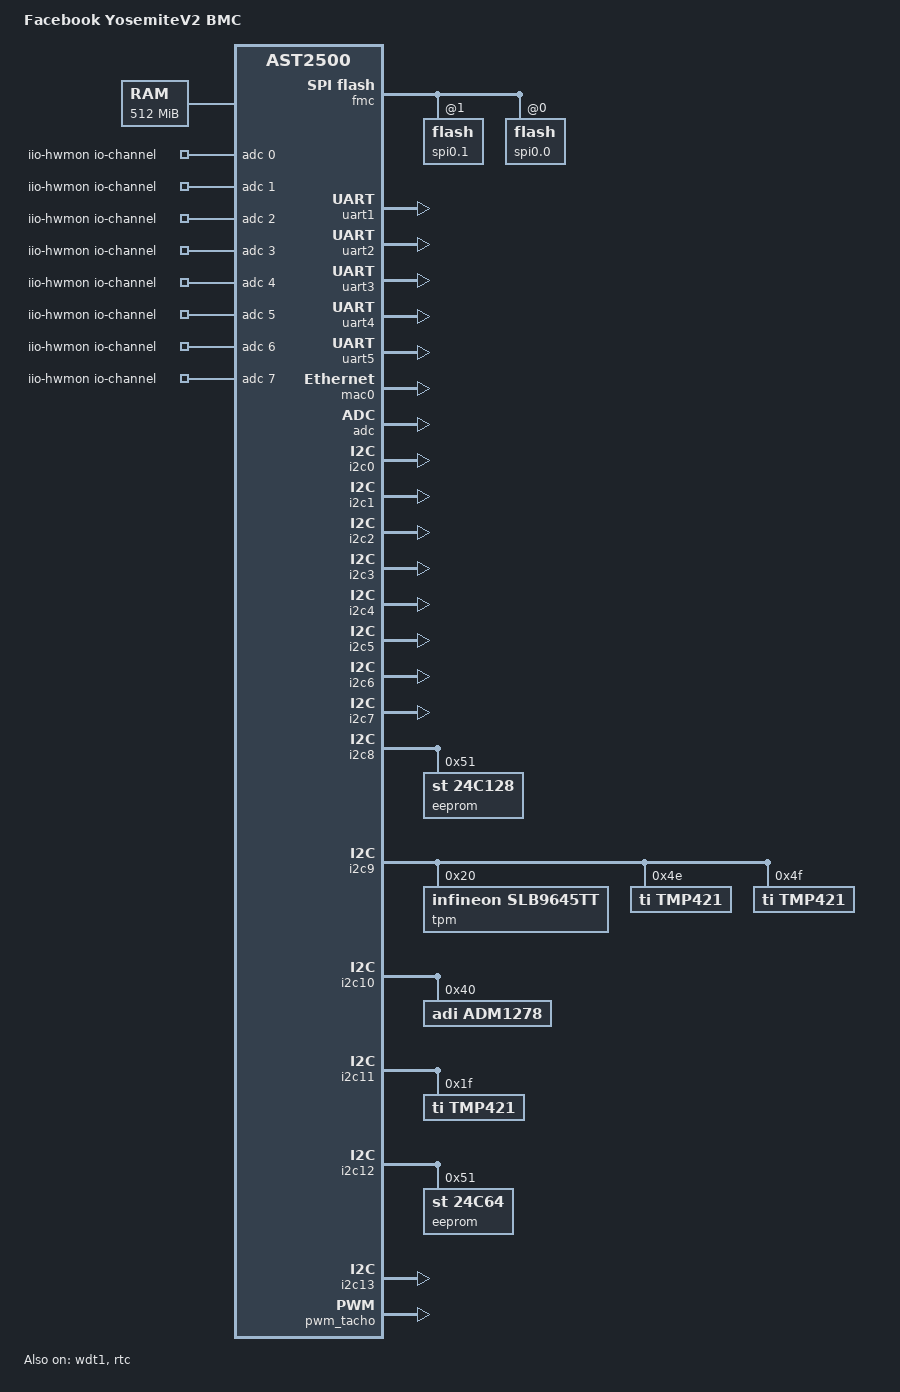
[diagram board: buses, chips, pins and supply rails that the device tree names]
// SPDX-License-Identifier: GPL-2.0+
// Copyright (c) 2018 Facebook Inc.
/dts-v1/;

#include "aspeed-g5.dtsi"
#include <dt-bindings/gpio/aspeed-gpio.h>

/ {
	model = "Facebook YosemiteV2 BMC";
	compatible = "facebook,yosemitev2-bmc", "aspeed,ast2500";
	aliases {
		serial0 = &uart5;
		serial1 = &uart1;
		serial2 = &uart2;
		serial3 = &uart3;
		serial4 = &uart4;
	};
	chosen {
		stdout-path = &uart5;
		bootargs = "debug console=ttyS0,57600n8 root=/dev/ram rw";
	};

	memory@80000000 {
		reg = <0x80000000 0x20000000>;
	};

	iio-hwmon {
		compatible = "iio-hwmon";
		io-channels = <&adc 0>, <&adc 1>, <&adc 2>, <&adc 3>,
		              <&adc 4>, <&adc 5>, <&adc 6>, <&adc 7>,
		              <&adc 8>, <&adc 9>, <&adc 10>, <&adc 11>,
		              <&adc 12>, <&adc 13>, <&adc 14>, <&adc 15>;
	};
};

&wdt1 {
	status = "okay";
	aspeed,reset-type = "soc";
	aspeed,ext-active-high;
	aspeed,ext-pulse-duration = <256>;
};

&fmc {
	status = "okay";
	flash@0 {
		reg = < 1 >;
		status = "okay";
		m25p,fast-read;
		label = "spi0.1";
#include "facebook-bmc-flash1-layout.dtsi"
	};
	flash@1 {
		reg = < 0 >;
		status = "okay";
		m25p,fast-read;
		label = "spi0.0";
#include "facebook-bmc-flash0-layout.dtsi"
	};
};

&ibt {
	status = "disabled";
};

&rtc {
	status = "okay";
};

&uart1 {
	status = "okay";
	pinctrl-names = "default";
	pinctrl-0 = <&pinctrl_txd1_default
		     &pinctrl_rxd1_default>;
};

&uart2 {
	status = "okay";
	pinctrl-names = "default";
	pinctrl-0 = <&pinctrl_txd2_default
		     &pinctrl_rxd2_default>;
};

&uart3 {
	status = "okay";
	pinctrl-names = "default";
	pinctrl-0 = <&pinctrl_txd3_default
		     &pinctrl_rxd3_default>;
};

&uart4 {
	status = "okay";
	pinctrl-names = "default";
	pinctrl-0 = <&pinctrl_txd4_default
		     &pinctrl_rxd4_default>;
};

&uart5 {
	status = "okay";
};

&mac0 {
	status = "okay";
	pinctrl-names = "default";
	pinctrl-0 = <&pinctrl_mdio1_default>;
	no-hw-checksum;
	use-ncsi;
	mlx,multi-host;
};

&adc {
	status = "okay";
};

&i2c0 {
	status = "okay";
};

&i2c1 {
	// To BIC server board 0x40
	multi-master;
	bus-frequency = <1000000>;
	aspeed,hw-timeout-ms = <1000>;
	status = "okay";
};

&i2c2 {
	status = "okay";
};

&i2c3 {
	// To BIC server board 0x40
	multi-master;
	bus-frequency = <1000000>;
	aspeed,hw-timeout-ms = <1000>;
	status = "okay";
};

&i2c4 {
	
	status = "okay";
};

&i2c5 {
	// To BIC server board 0x40
	multi-master;
	bus-frequency = <1000000>;
	aspeed,hw-timeout-ms = <1000>;
	status = "okay";
};

&i2c6 {
	status = "okay";
};

&i2c7 {
	// To BIC server board 0x40
	multi-master;
	bus-frequency = <1000000>;
	aspeed,hw-timeout-ms = <1000>;
	status = "okay";
};

&i2c8 {
	status = "okay";
	// EEPROM, 0xA2
	eeprom@51 {
		compatible = "st,24c128";
		reg = <0x51>;
    };
};

&i2c9 {
	status = "okay";
	// TPM (0x40)
	tpm@20 {
		compatible = "infineon,slb9645tt";
		reg = <0x20>;
	};
	// INLET TEMP Sensor (0x9C)
	tmp421@4e {
		compatible = "ti,tmp421";
		reg = <0x4e>;
	};
	// OUTLET TEMP Sensor (0x9E)
	tmp421@4f {
		compatible = "ti,tmp421";
		reg = <0x4f>;
	};
};

&i2c10 {
	status = "okay";
	// ADM1278, 0x20 (8BIT) -> ML HSC
	adm1278@40 {
		compatible = "adi,adm1278";
		reg = <0x40>;
	};
};

&i2c11 {
	status = "okay";
	bus-frequency = <400000>;
	// Mezz C connector -> OCP MEZZ
	tmp421@1f {
		compatible = "ti,tmp421";
		reg = <0x1f>;
	};
};

&i2c12 {
	status = "okay";
	// Mezz C connector -> OCP MEZZ EEPROM
	eeprom@51 {
		compatible = "st,24c64";
		reg = <0x51>;
	};
};

&i2c13 {
	//USB Connector
	status = "okay";
};

&pwm_tacho {
	status = "okay";
	pinctrl-names = "default";
	pinctrl-0 = <&pinctrl_pwm0_default &pinctrl_pwm1_default>;
	fan@0 {
		reg = <0x00>;
		aspeed,fan-tach-ch = /bits/ 8 <0x00>;
		aspeed,pwm-typem-tach-mode = /bits/ 8 <0x00>;       // 00b: falling
		aspeed,pwm-typem-tach-unit = /bits/ 16 <0x1000>;    // 4096
		aspeed,pwm-typem-tach-clk-div = /bits/ 8 <0x00>;    // div 4
	};

	fan@1 {
		reg = <0x01>;
		aspeed,fan-tach-ch = /bits/ 8 <0x01>;
		aspeed,pwm-typem-tach-mode = /bits/ 8 <0x00>;       // 00b: falling
		aspeed,pwm-typem-tach-unit = /bits/ 16 <0x1000>;    // 4096
		aspeed,pwm-typem-tach-clk-div = /bits/ 8 <0x00>;    // div 4
	};
};
